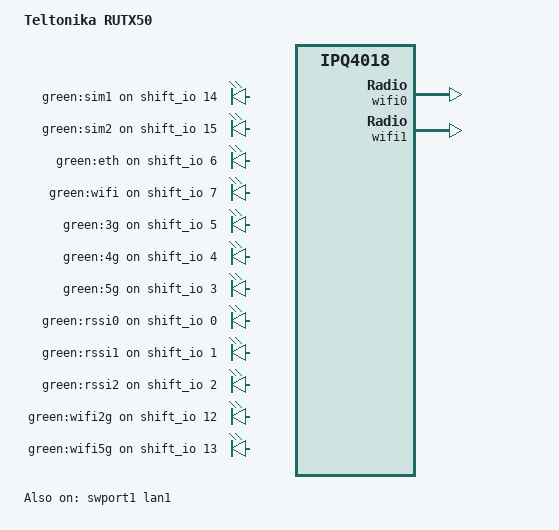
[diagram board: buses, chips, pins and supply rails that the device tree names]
// SPDX-License-Identifier: GPL-2.0-or-later OR MIT

#include "qcom-ipq4018-rutx-shiftreg.dtsi"

/ {
	model = "Teltonika RUTX50";
	compatible = "teltonika,rutx50";

	aliases {
		led-boot = &led_rssi0;
		led-failsafe = &led_rssi0;
		led-running = &led_rssi0;
		led-upgrade = &led_rssi0;
	};

	soc {
		gpio-export {
			gpio_out {
				gpio-export,name = "gpio_out";
				gpio-export,output = <0>;
				gpios = <&shift_io 10 GPIO_ACTIVE_HIGH>;
			};

			gpio_modem_reset {
				gpio-export,name = "modem_reset";
				gpio-export,output = <0>;
				gpios = <&shift_io 8 GPIO_ACTIVE_HIGH>;
			};

			gpio_modem_power {
				gpio-export,name = "modem_power";
				gpio-export,output = <1>;
				gpios = <&shift_io 9 GPIO_ACTIVE_HIGH>;
			};
		};

		leds {
			compatible = "gpio-leds";

			led-0 {
				label = "green:sim1";
				gpios = <&shift_io 14 GPIO_ACTIVE_HIGH>;
			};

			led-1 {
				label = "green:sim2";
				gpios = <&shift_io 15 GPIO_ACTIVE_HIGH>;
			};

			led-2 {
				label = "green:eth";
				gpios = <&shift_io 6 GPIO_ACTIVE_HIGH>;
			};

			led-3 {
				label = "green:wifi";
				gpios = <&shift_io 7 GPIO_ACTIVE_HIGH>;
			};

			led-4 {
				label = "green:3g";
				gpios = <&shift_io 5 GPIO_ACTIVE_HIGH>;
			};

			led-5 {
				label = "green:4g";
				gpios = <&shift_io 4 GPIO_ACTIVE_HIGH>;
			};

			led-6 {
				label = "green:5g";
				gpios = <&shift_io 3 GPIO_ACTIVE_HIGH>;
			};

			led_rssi0: led-7 {
				label = "green:rssi0";
				gpios = <&shift_io 0 GPIO_ACTIVE_HIGH>;
			};

			led-8 {
				label = "green:rssi1";
				gpios = <&shift_io 1 GPIO_ACTIVE_HIGH>;
			};

			led-9 {
				label = "green:rssi2";
				gpios = <&shift_io 2 GPIO_ACTIVE_HIGH>;
			};

			led-10 {
				label = "green:wifi2g";
				gpios = <&shift_io 12 GPIO_ACTIVE_HIGH>;
				linux,default-trigger = "phy0tpt";
			};

			led-11 {
				label = "green:wifi5g";
				gpios = <&shift_io 13 GPIO_ACTIVE_HIGH>;
				linux,default-trigger = "phy1tpt";
			};
		};
	};
};

&shift_io {
	/* Attn: This is specific to RUTX50 in Teltonika GPL */
	registers-number = <2>;
};

/* Four LAN ports on switch ports 1-4 (the shared include maps 2-4 only) */
&swport1 {
	status = "okay";

	label = "lan1";
};

&swport2 {
	label = "lan2";
};

&swport3 {
	label = "lan3";
};

&swport4 {
	label = "lan4";
};

&wifi0 {
	status = "okay";
	qcom,ath10k-calibration-variant = "Teltonika-RUTX10";
};

&wifi1 {
	status = "okay";
	qcom,ath10k-calibration-variant = "Teltonika-RUTX10";
};
